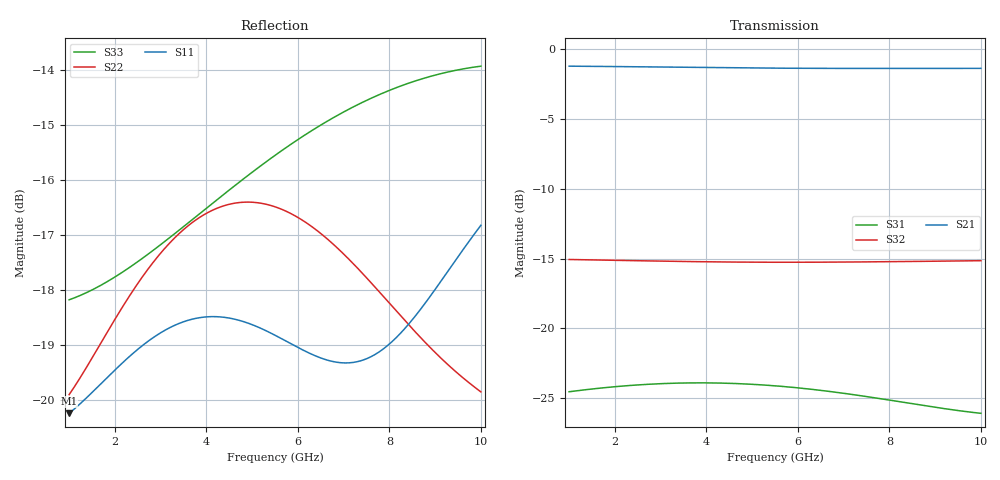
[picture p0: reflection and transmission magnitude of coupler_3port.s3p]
! Simulation of a 3-port directional coupler
! P1 and P2 are the thru ports, P3 is coupled to P2
# hz S ma R 50
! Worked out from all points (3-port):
!   301 points, 1 GHz to 10 GHz, reference 50 ohm
!   strongest paths, dB at 1 GHz, 3.25 GHz, 5.5 GHz, 7.75 GHz, 10 GHz:
!     S21: -1.2, -1.3, -1.3, -1.4, -1.4
!     S32: -15.1, -15.2, -15.3, -15.2, -15.2
!     S31: -24.5, -23.9, -24.1, -25.0, -26.1
!   lowest |S11| = -20.2 dB at 1 GHz (marker M1), VSWR 1.22, Z = 58 - j6.86 ohm
!   |S11| at or under -10 dB: start of sweep to end of sweep
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1e9  0.09721 -37.1  0.8707 -21.8  0.05924 -19.7
     0.8707 -21.8  0.1011 -43.1  0.1765 69.5
     0.05924 -19.7  0.1765 69.5  0.1233 -20.0
1.6e9  0.1025 -57.3  0.8692 -34.9  0.06085 -31.2
       0.8692 -34.9  0.1109 -65.7  0.1758 57.1
       0.06085 -31.2  0.1758 57.1  0.1265 -31.7
2.23e9  0.1087 -76.3  0.8672 -48.6  0.06221 -43.6
        0.8672 -48.6  0.1226 -86.4  0.1751 44.2
        0.06221 -43.6  0.1751 44.2  0.1311 -43.6
3.34e9  0.117 -104.5  0.8629 -72.6  0.06359 -65.9
        0.8629 -72.6  0.1408 -117.1  0.1738 21.6
        0.06359 -65.9  0.1738 21.6  0.1419 -63.2
4.42e9  0.1188 -126.0  0.8591 -96.0  0.06357 -87.8
        0.8591 -96.0  0.1502 -141.9  0.1729 -0.3
        0.06357 -87.8  0.1729 -0.3  0.1542 -80.6
5.5e9  0.1145 -141.5  0.8565 -119.2  0.06221 -109.6
       0.8565 -119.2  0.1498 -163.2  0.1725 -22.1
       0.06221 -109.6  0.1725 -22.1  0.1668 -96.7
6.73e9  0.1084 -151.4  0.855 -145.8  0.05928 -133.7
        0.855 -145.8  0.139 176.7  0.1727 -47.1
        0.05928 -133.7  0.1727 -47.1  0.18 -113.7
7.81e9  0.1108 -155.3  0.8546 -169.2  0.05592 -153.6
        0.8546 -169.2  0.1249 162.5  0.1732 -69.2
        0.05592 -153.6  0.1732 -69.2  0.1896 -127.6
8.89e9  0.1241 -160.2  0.8547 167.3  0.05245 -172.0
        0.8547 167.3  0.1116 151.2  0.174 -91.5
        0.05245 -172.0  0.174 -91.5  0.1967 -140.8
1e10  0.1441 -170.5  0.8552 143.2  0.04958 170.9
      0.8552 143.2  0.1017 140.3  0.1748 -114.5
      0.04958 170.9  0.1748 -114.5  0.201 -153.8
